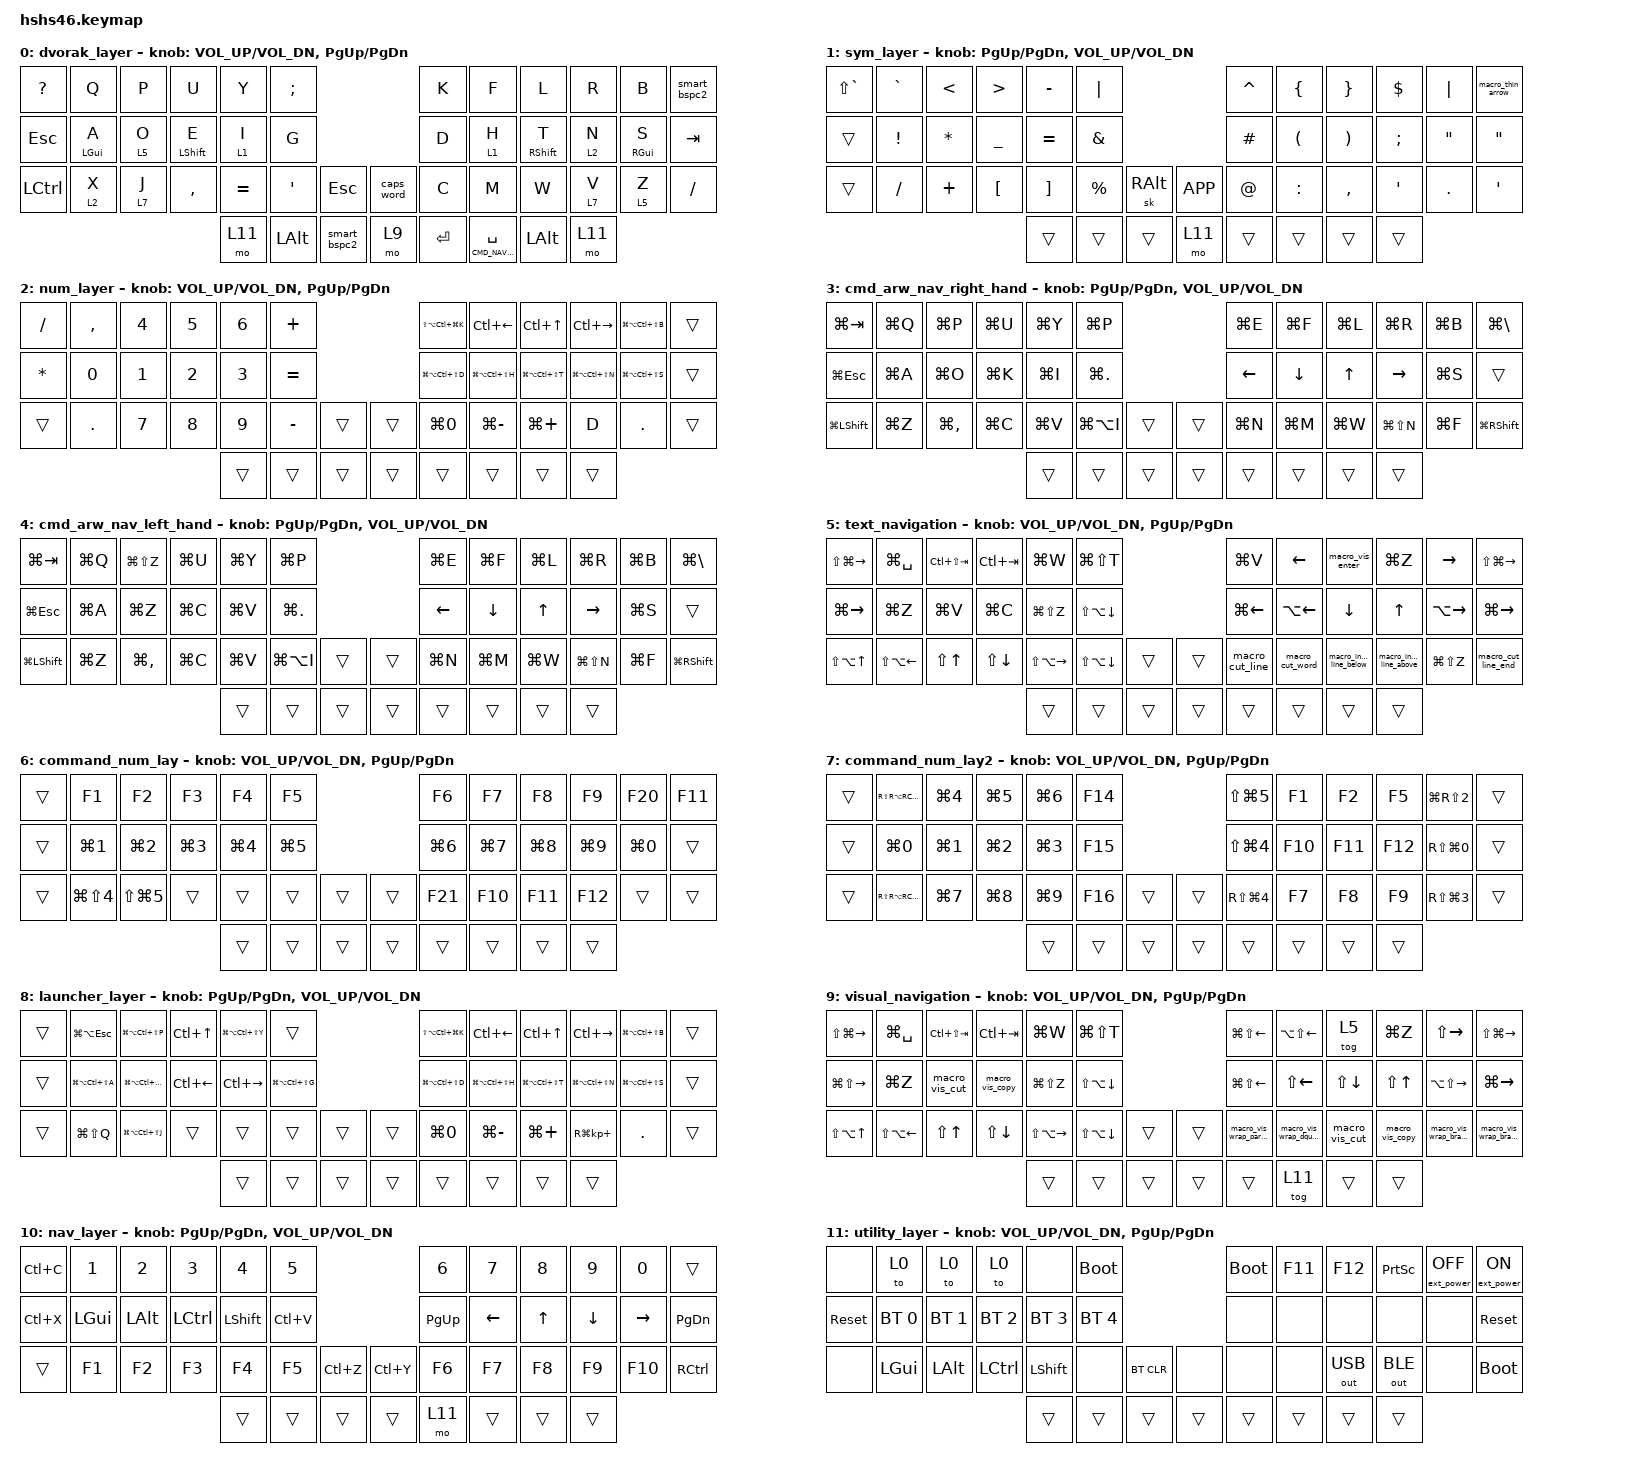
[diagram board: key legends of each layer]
/*
 * Copyright (c) 2021-2022 The ZMK Contributors
 *
 * SPDX-License-Identifier: MIT
 */

#include <behaviors.dtsi>
#include <dt-bindings/zmk/bt.h>
#include <dt-bindings/zmk/ext_power.h>
#include <dt-bindings/zmk/keys.h>
#include <dt-bindings/zmk/outputs.h>

#define QWERTY_L 0
#define DVORAK_L 1
#define COLEMK_L 2
#define NAV_L    3
#define SYM_L    4
#define ADJ_L    5
#define NUM_L    6
#define CMD_NAV_R_L 7
#define CMD_NAV_L_L 8
#define LAUNCHER_L 9
#define CMD_NUM_L 10
#define CMD_NUM_L2 11
#define TEXT_NAV_L 12
#define VIS_NAV_L 13
#define Undo   LC(Z)
#define Cut    LC(X)
#define Copy   LC(C)
#define Paste  LC(V)
#define Redo   LC(Y)
#define KEYS_L 0 1 2 3 4 5 12 13 14 15 16 17 24 25 26 27 28 29 30 38 39 40 41
#define KEYS_R 6 7 8 9 10 11 18 19 20 21 22 23 31 32 33 34 35 36 37 42 43 44 45

/ {
    behaviors {
        hrm_left_index: homerow_mod_left_sym {
            compatible = "zmk,behavior-hold-tap";
            label = "HOMEROW_MOD_LEFT_SYM";
            #binding-cells = <2>;
            tapping-term-ms = <260>;
            quick-tap-ms = <200>;
            require-prior-idle-ms = <150>;
            flavor = "tap-preferred";
            retro-tap;
            bindings = <&mo>, <&kp>;

            hold-trigger-key-positions = <KEYS_R>;
        };

        hrm_left_ring: homerow_mod_left_ring_sym {
            compatible = "zmk,behavior-hold-tap";
            label = "HOMEROW_MOD_LEFT_RING_SYM";
            #binding-cells = <2>;
            tapping-term-ms = <270>;
            quick-tap-ms = <200>;
            require-prior-idle-ms = <150>;
            flavor = "tap-preferred";
            retro-tap;
            bindings = <&mo>, <&kp>;

            hold-trigger-key-positions = <KEYS_R>;
        };

        hrm_right_index: homerow_mod_right_sym {
            compatible = "zmk,behavior-hold-tap";
            label = "HOMEROW_MOD_RIGHT_SYM";
            #binding-cells = <2>;
            tapping-term-ms = <234>;
            quick-tap-ms = <180>;
            require-prior-idle-ms = <150>;
            flavor = "tap-preferred";
            retro-tap;
            bindings = <&mo>, <&kp>;

            hold-trigger-key-positions = <KEYS_L>;
        };

        hrm_right_ring: homerow_mod_right_ring_sym {
            compatible = "zmk,behavior-hold-tap";
            label = "HOMEROW_MOD_RIGHT_RING_SYM";
            #binding-cells = <2>;
            tapping-term-ms = <243>;
            quick-tap-ms = <180>;
            require-prior-idle-ms = <150>;
            flavor = "tap-preferred";
            retro-tap;
            bindings = <&mo>, <&kp>;

            hold-trigger-key-positions = <KEYS_L>;
        };

        hrm_left_ring_bottom: homerow_mod_left_ring_bottom_layer {
            compatible = "zmk,behavior-hold-tap";
            label = "HOMEROW_MOD_LEFT_RING_BOTTOM_LAYER";
            #binding-cells = <2>;
            tapping-term-ms = <270>;
            quick-tap-ms = <200>;
            require-prior-idle-ms = <150>;
            flavor = "tap-preferred";
            retro-tap;
            bindings = <&mo>, <&kp>;

            hold-trigger-key-positions = <KEYS_R>;
        };

        hrm_right_ring_bottom: homerow_mod_right_ring_bottom_layer {
            compatible = "zmk,behavior-hold-tap";
            label = "HOMEROW_MOD_RIGHT_RING_BOTTOM_LAYER";
            #binding-cells = <2>;
            tapping-term-ms = <243>;
            quick-tap-ms = <180>;
            require-prior-idle-ms = <150>;
            flavor = "tap-preferred";
            retro-tap;
            bindings = <&mo>, <&kp>;

            hold-trigger-key-positions = <KEYS_L>;
        };

        hrm_left_middle: homerow_mod_left_shift {
            compatible = "zmk,behavior-hold-tap";
            label = "HOMEROW_MOD_LEFT_SHIFT";
            #binding-cells = <2>;
            tapping-term-ms = <250>;
            quick-tap-ms = <180>;
            require-prior-idle-ms = <150>;
            flavor = "tap-preferred";
            retro-tap;
            bindings = <&kp>, <&kp>;

            hold-trigger-key-positions = <KEYS_R>;
        };

        hrm_right_middle: homerow_mod_right_shift {
            compatible = "zmk,behavior-hold-tap";
            label = "HOMEROW_MOD_RIGHT_SHIFT";
            #binding-cells = <2>;
            tapping-term-ms = <243>;
            quick-tap-ms = <180>;
            require-prior-idle-ms = <150>;
            flavor = "tap-preferred";
            retro-tap;
            bindings = <&kp>, <&kp>;

            hold-trigger-key-positions = <KEYS_L>;
        };

        hrm_left_pinky: homerow_mod_left_cmd {
            compatible = "zmk,behavior-hold-tap";
            label = "HOMEROW_MOD_LEFT_CMD";
            #binding-cells = <2>;
            tapping-term-ms = <350>;
            quick-tap-ms = <200>;
            require-prior-idle-ms = <150>;
            flavor = "tap-preferred";
            retro-tap;
            bindings = <&kp>, <&kp>;

            hold-trigger-key-positions = <KEYS_R>;
        };

        hrm_left_pinky_bottom: homerow_mod_left_pinky_bottom_layer {
            compatible = "zmk,behavior-hold-tap";
            label = "HOMEROW_MOD_LEFT_PINKY_BOTTOM_LAYER";
            #binding-cells = <2>;
            tapping-term-ms = <350>;
            quick-tap-ms = <200>;
            require-prior-idle-ms = <150>;
            flavor = "tap-preferred";
            retro-tap;
            bindings = <&mo>, <&kp>;

            hold-trigger-key-positions = <KEYS_R>;
        };

        hrm_right_pinky: homerow_mod_right_cmd {
            compatible = "zmk,behavior-hold-tap";
            label = "HOMEROW_MOD_RIGHT_CMD";
            #binding-cells = <2>;
            tapping-term-ms = <280>;
            quick-tap-ms = <180>;
            require-prior-idle-ms = <150>;
            flavor = "tap-preferred";
            retro-tap;
            bindings = <&kp>, <&kp>;

            hold-trigger-key-positions = <KEYS_L>;
        };

        hrm_right_pinky_bottom: homerow_mod_right_pinky_bottom_layer {
            compatible = "zmk,behavior-hold-tap";
            label = "HOMEROW_MOD_RIGHT_PINKY_BOTTOM_LAYER";
            #binding-cells = <2>;
            tapping-term-ms = <280>;
            quick-tap-ms = <180>;
            require-prior-idle-ms = <150>;
            flavor = "tap-preferred";
            retro-tap;
            bindings = <&mo>, <&kp>;

            hold-trigger-key-positions = <KEYS_L>;
        };

        bs_nav: backspace_nav {
            compatible = "zmk,behavior-hold-tap";
            label = "BACKSPACE_NAV";
            #binding-cells = <2>;
            tapping-term-ms = <220>;
            quick-tap-ms = <175>;
            require-prior-idle-ms = <160>;
            flavor = "tap-preferred";
            retro-tap;
            bindings = <&mo>, <&kp>;
        };

        smart_bspc2: smart_backspace_2 {
            compatible = "zmk,behavior-mod-morph";
            label = "SMART_BACKSPACE_2";
            #binding-cells = <0>;
            bindings = <&bs_nav CMD_NAV_L_L BSPC>, <&kp LA(BSPC)>;

            mods = <(MOD_LSFT|MOD_RSFT)>;
        };

        sp_nav: space_nav {
            compatible = "zmk,behavior-hold-tap";
            label = "SPACE_NAV";
            #binding-cells = <2>;
            tapping-term-ms = <220>;
            quick-tap-ms = <0>;
            require-prior-idle-ms = <140>;
            flavor = "tap-preferred";
            retro-tap;
            bindings = <&mo>, <&kp>;
        };
    };

    macros {
        macro_thin_arrow: macro_thin_arrow {
            compatible = "zmk,behavior-macro";
            #binding-cells = <0>;
            wait-ms = <30>;
            tap-ms = <30>;
            bindings = <&macro_release>, <&kp LSHFT &kp RSHFT &kp MINUS &kp GT>;

            display-name = "Thin Arrow";
        };

        mac_sel_word: mac_sel_word {
            compatible = "zmk,behavior-macro";
            #binding-cells = <0>;
            tap-ms = <5>;
            wait-ms = <5>;
            bindings = <&kp LEFT &kp LA(LEFT) &kp LA(LS(RIGHT))>;
            display-name = "Mac Select Word";
        };

        macro_cut_line: macro_cut_line {
            compatible = "zmk,behavior-macro";
            label = "macro_cut_line";
            #binding-cells = <0>;
            wait-ms = <5>;
            tap-ms = <5>;
            bindings = <&kp LC(A) &kp LC(K) &kp DEL>;
            display-name = "Cut Line";
        };

        macro_cut_line_end: macro_cut_line_end {
            compatible = "zmk,behavior-macro";
            label = "macro_cut_line_end";
            #binding-cells = <0>;
            wait-ms = <5>;
            tap-ms = <5>;
            bindings = <&kp LC(K)>;
            display-name = "Cut to End of Line";
        };

        macro_cut_word: macro_cut_word {
            compatible = "zmk,behavior-macro";
            label = "macro_cut_word";
            #binding-cells = <0>;
            wait-ms = <5>;
            tap-ms = <5>;
            bindings = <&kp LA(RIGHT) &kp LA(BSPC)>;
            display-name = "Cut Word";
        };

        macro_vis_enter: macro_vis_enter {
            compatible = "zmk,behavior-macro";
            label = "macro_vis_enter";
            #binding-cells = <0>;
            wait-ms = <5>;
            tap-ms = <5>;
            bindings = <&mac_sel_word &tog 0>;
            display-name = "Visual Mode Enter";
        };

        macro_vis_wrap_parens: macro_vis_wrap_parens {
            compatible = "zmk,behavior-macro";
            label = "macro_vis_wrap_parens";
            #binding-cells = <0>;
            wait-ms = <5>;
            tap-ms = <5>;
            bindings = <&kp LG(X) &kp LS(N9) &kp LG(V) &kp LS(N0) &tog 0>;
            display-name = "Visual Wrap Parens ()";
        };

        macro_vis_wrap_brackets: macro_vis_wrap_brackets {
            compatible = "zmk,behavior-macro";
            label = "macro_vis_wrap_brackets";
            #binding-cells = <0>;
            wait-ms = <5>;
            tap-ms = <5>;
            bindings = <&kp LG(X) &kp LBKT &kp LG(V) &kp RBKT &tog 0>;
            display-name = "Visual Wrap Brackets []";
        };

        macro_vis_wrap_braces: macro_vis_wrap_braces {
            compatible = "zmk,behavior-macro";
            label = "macro_vis_wrap_braces";
            #binding-cells = <0>;
            wait-ms = <5>;
            tap-ms = <5>;
            bindings = <&kp LG(X) &kp LS(LBKT) &kp LG(V) &kp LS(RBKT) &tog 0>;
            display-name = "Visual Wrap Braces {}";
        };

        macro_vis_wrap_dquotes: macro_vis_wrap_dquotes {
            compatible = "zmk,behavior-macro";
            label = "macro_vis_wrap_dquotes";
            #binding-cells = <0>;
            wait-ms = <5>;
            tap-ms = <5>;
            bindings = <&kp LG(X) &kp LS(SQT) &kp LG(V) &kp LS(SQT) &tog 0>;
            display-name = "Visual Wrap Quotes DQT";
        };

        macro_vis_copy: macro_vis_copy {
            compatible = "zmk,behavior-macro";
            label = "macro_vis_copy";
            #binding-cells = <0>;
            wait-ms = <5>;
            tap-ms = <5>;
            bindings = <&kp LG(C) &tog 0>;
            display-name = "Visual Copy & Exit";
        };

        macro_vis_cut: macro_vis_cut {
            compatible = "zmk,behavior-macro";
            label = "macro_vis_cut";
            #binding-cells = <0>;
            wait-ms = <5>;
            tap-ms = <5>;
            bindings = <&kp LG(X) &tog 0>;
            display-name = "Visual Cut & Exit";
        };

        macro_insert_line_below: macro_insert_line_below {
            compatible = "zmk,behavior-macro";
            label = "macro_insert_line_below";
            #binding-cells = <0>;
            wait-ms = <5>;
            tap-ms = <5>;
            bindings = <&kp LG(RIGHT) &kp ENTER>;
            display-name = "Insert Line Below";
        };

        macro_insert_line_above: macro_insert_line_above {
            compatible = "zmk,behavior-macro";
            label = "macro_insert_line_above";
            #binding-cells = <0>;
            wait-ms = <5>;
            tap-ms = <5>;
            bindings = <&kp LG(LEFT) &kp ENTER &kp UP>;
            display-name = "Insert Line Above";
        };
    };

    keymap {
        compatible = "zmk,keymap";

        dvorak_layer {
            bindings = <
&kp QUESTION  &kp Q                       &kp P                      &kp U                     &kp Y                &kp SEMI                                                   &kp K     &kp F                 &kp L                      &kp R                       &kp B                        &smart_bspc2
&kp ESCAPE    &hrm_left_pinky LGUI A      &hrm_left_ring 5 O         &hrm_left_middle LSHFT E  &hrm_left_index 1 I  &kp G                                                      &kp D     &hrm_right_index 1 H  &hrm_right_middle RSHFT T  &hrm_right_ring 2 N         &hrm_right_pinky RGUI S      &kp TAB
&kp LCTRL     &hrm_left_pinky_bottom 2 X  &hrm_left_ring_bottom 7 J  &kp COMMA                 &kp EQUAL            &kp APOS  &kp ESC                         &caps_word       &kp C     &kp M                 &kp W                      &hrm_right_ring_bottom 7 V  &hrm_right_pinky_bottom 5 Z  &kp SLASH
                                                                                               &mo 11               &kp LALT  &smart_bspc2  &mo 9  &kp ENTER  &sp_nav CMD_NAV_R_L SPACE  &kp LALT  &mo 11
            >;

            sensor-bindings = <&inc_dec_kp C_VOL_UP C_VOL_DN &inc_dec_kp PG_UP PG_DN>;
        };

        sym_layer {
            bindings = <
&kp LS(GRAVE)  &kp GRAVE        &kp LESS_THAN  &kp GREATER_THAN  &kp MINUS          &kp PIPE                                            &kp CARET    &kp LEFT_BRACE        &kp RIGHT_BRACE        &kp DOLLAR     &kp PIPE           &macro_thin_arrow
&trans         &kp EXCLAMATION  &kp ASTERISK   &kp UNDERSCORE    &kp EQUAL          &kp AMPERSAND                                       &kp HASH     &kp LEFT_PARENTHESIS  &kp RIGHT_PARENTHESIS  &kp SEMICOLON  &kp DOUBLE_QUOTES  &kp DOUBLE_QUOTES
&trans         &kp SLASH        &kp PLUS       &kp LEFT_BRACKET  &kp RIGHT_BRACKET  &kp PERCENT    &sk RALT                  &kp K_APP  &kp AT_SIGN  &kp COLON             &kp COMMA              &kp SQT        &kp DOT            &kp SINGLE_QUOTE
                                                                 &trans             &trans         &trans    &mo 11  &trans  &trans     &trans       &trans
            >;

            sensor-bindings = <&inc_dec_kp PG_UP PG_DN &inc_dec_kp C_VOL_UP C_VOL_DN>;
        };

        num_layer {
            bindings = <
&kp SLASH     &kp COMMA   &kp NUMBER_4  &kp NUMBER_5  &kp NUMBER_6  &kp PLUS                                   &kp LS(LA(LC(LG(K))))  &kp LC(LEFT)           &kp LC(UP)             &kp LC(RIGHT)          &kp LG(LA(LC(LS(B))))  &trans
&kp ASTERISK  &kp N0      &kp N1        &kp N2        &kp N3        &kp EQUAL                                  &kp LG(LA(LC(LS(D))))  &kp LG(LA(LC(LS(H))))  &kp LG(LA(LC(LS(T))))  &kp LG(LA(LC(LS(N))))  &kp LG(LA(LC(LS(S))))  &trans
&trans        &kp PERIOD  &kp N7        &kp N8        &kp N9        &kp MINUS  &trans                  &trans  &kp LG(NUMBER_0)       &kp LG(MINUS)          &kp LG(PLUS)           &kp D                  &kp PERIOD             &trans
                                                      &trans        &trans     &trans  &trans  &trans  &trans  &trans                 &trans
            >;

            sensor-bindings = <&inc_dec_kp C_VOL_UP C_VOL_DN &inc_dec_kp PG_UP PG_DN>;
        };

        cmd_arw_nav_right_hand {
            bindings = <
&kp LG(TAB)    &kp LG(Q)  &kp LG(P)      &kp LG(U)  &kp LG(Y)  &kp LG(P)                                      &kp LG(E)  &kp LG(F)       &kp LG(L)     &kp LG(R)        &kp LG(B)  &kp LG(BSLH)
&kp LG(ESC)    &kp LG(A)  &kp LG(O)      &kp LG(K)  &kp LG(I)  &kp LG(DOT)                                    &kp LEFT   &kp DOWN_ARROW  &kp UP_ARROW  &kp RIGHT_ARROW  &kp LG(S)  &trans
&kp LG(LSHFT)  &kp LG(Z)  &kp LG(COMMA)  &kp LG(C)  &kp LG(V)  &kp LG(LA(I))  &trans                  &trans  &kp LG(N)  &kp LG(M)       &kp LG(W)     &kp LG(LS(N))    &kp LG(F)  &kp LG(RSHFT)
                                                    &trans     &trans         &trans  &trans  &trans  &trans  &trans     &trans
            >;

            sensor-bindings = <&inc_dec_kp PG_UP PG_DN &inc_dec_kp C_VOL_UP C_VOL_DN>;
        };

        cmd_arw_nav_left_hand {
            bindings = <
&kp LG(TAB)    &kp LG(Q)  &kp LG(LS(Z))  &kp LG(U)  &kp LG(Y)  &kp LG(P)                                      &kp LG(E)       &kp LG(F)       &kp LG(L)     &kp LG(R)        &kp LG(B)  &kp LG(BSLH)
&kp LG(ESC)    &kp LG(A)  &kp LG(Z)      &kp LG(C)  &kp LG(V)  &kp LG(DOT)                                    &kp LEFT_ARROW  &kp DOWN_ARROW  &kp UP_ARROW  &kp RIGHT_ARROW  &kp LG(S)  &trans
&kp LG(LSHFT)  &kp LG(Z)  &kp LG(COMMA)  &kp LG(C)  &kp LG(V)  &kp LG(LA(I))  &trans                  &trans  &kp LG(N)       &kp LG(M)       &kp LG(W)     &kp LG(LS(N))    &kp LG(F)  &kp LG(RSHFT)
                                                    &trans     &trans         &trans  &trans  &trans  &trans  &trans          &trans
            >;

            sensor-bindings = <&inc_dec_kp PG_UP PG_DN &inc_dec_kp C_VOL_UP C_VOL_DN>;
        };

        text_navigation {
            bindings = <
&kp LS(LG(RIGHT))  &kp LG(SPACE)     &kp LC(LS(TAB))  &kp LC(TAB)   &kp LG(W)          &kp LG(LS(T))                                     &kp LG(V)        &kp LEFT         &macro_vis_enter          &kp LG(Z)                 &kp RIGHT      &kp LS(LG(RIGHT))
&kp LG(RIGHT)      &kp LG(Z)         &kp LG(V)        &kp LG(C)     &kp LG(LS(Z))      &kp LS(LA(DOWN))                                  &kp LG(LEFT)     &kp LA(LEFT)     &kp DOWN                  &kp UP                    &kp LA(RIGHT)  &kp LG(RIGHT)
&kp LS(LA(UP))     &kp LS(LA(LEFT))  &kp LS(UP)       &kp LS(DOWN)  &kp LS(LA(RIGHT))  &kp LS(LA(DOWN))  &trans                  &trans  &macro_cut_line  &macro_cut_word  &macro_insert_line_below  &macro_insert_line_above  &kp LG(LS(Z))  &macro_cut_line_end
                                                                    &trans             &trans            &trans  &trans  &trans  &trans  &trans           &trans
            >;

            sensor-bindings = <&inc_dec_kp C_VOL_UP C_VOL_DN &inc_dec_kp PG_UP PG_DN>;
        };

        command_num_lay {
            bindings = <
&trans  &kp F1                &kp F2                &kp F3      &kp F4      &kp F5                                      &kp F6      &kp F7      &kp F8      &kp F9      &kp F20     &kp F11
&trans  &kp LG(N1)            &kp LG(N2)            &kp LG(N3)  &kp LG(N4)  &kp LG(N5)                                  &kp LG(N6)  &kp LG(N7)  &kp LG(N8)  &kp LG(N9)  &kp LG(N0)  &trans
&trans  &kp LG(LS(NUMBER_4))  &kp LS(LG(NUMBER_5))  &trans      &trans      &trans      &trans                  &trans  &kp F21     &kp F10     &kp F11     &kp F12     &trans      &trans
                                                                &trans      &trans      &trans  &trans  &trans  &trans  &trans      &trans
            >;

            sensor-bindings = <&inc_dec_kp C_VOL_UP C_VOL_DN &inc_dec_kp PG_UP PG_DN>;
        };

        command_num_lay2 {
            bindings = <
&trans  &kp RS(RA(RC(F3)))   &kp LG(N4)  &kp LG(N5)  &kp LG(N6)  &kp F14                                  &kp LS(LG(N5))        &kp F1   &kp F2   &kp F5   &kp LG(RS(NUMBER_2))  &trans
&trans  &kp LG(N0)           &kp LG(N1)  &kp LG(N2)  &kp LG(N3)  &kp F15                                  &kp LS(LG(NUMBER_4))  &kp F10  &kp F11  &kp F12  &kp RS(LG(N0))        &trans
&trans  &kp RS(RA(RC(F23)))  &kp LG(N7)  &kp LG(N8)  &kp LG(N9)  &kp F16  &trans                  &trans  &kp RS(LG(NUMBER_4))  &kp F7   &kp F8   &kp F9   &kp RS(LG(NUMBER_3))  &trans
                                                     &trans      &trans   &trans  &trans  &trans  &trans  &trans                &trans
            >;

            sensor-bindings = <&inc_dec_kp C_VOL_UP C_VOL_DN &inc_dec_kp PG_UP PG_DN>;
        };

        launcher_layer {
            bindings = <
&trans  &kp LG(LA(ESC))        &kp LG(LA(LC(LS(P))))  &kp LC(UP)    &kp LG(LA(LC(LS(Y))))  &trans                                                 &kp LS(LA(LC(LG(K))))  &kp LC(LEFT)           &kp LC(UP)             &kp LC(RIGHT)          &kp LG(LA(LC(LS(B))))  &trans
&trans  &kp LG(LA(LC(LS(A))))  &kp LG(LA(LC(LS(O))))  &kp LC(LEFT)  &kp LC(RIGHT)          &kp LG(LA(LC(LS(G))))                                  &kp LG(LA(LC(LS(D))))  &kp LG(LA(LC(LS(H))))  &kp LG(LA(LC(LS(T))))  &kp LG(LA(LC(LS(N))))  &kp LG(LA(LC(LS(S))))  &trans
&trans  &kp LG(LS(Q))          &kp LG(LA(LC(LS(J))))  &trans        &trans                 &trans                 &trans                  &trans  &kp LG(NUMBER_0)       &kp LG(MINUS)          &kp LG(PLUS)           &kp RG(KP_PLUS)        &kp PERIOD             &trans
                                                                    &trans                 &trans                 &trans  &trans  &trans  &trans  &trans                 &trans
            >;

            sensor-bindings = <&inc_dec_kp PG_UP PG_DN &inc_dec_kp C_VOL_UP C_VOL_DN>;
        };

        visual_navigation {
            bindings = <
&kp LS(LG(RIGHT))  &kp LG(SPACE)     &kp LC(LS(TAB))  &kp LC(TAB)      &kp LG(W)          &kp LG(LS(T))                                      &kp LG(LS(LEFT))        &kp LA(LS(LEFT))         &tog 5          &kp LG(Z)        &kp LS(RIGHT)             &kp LS(LG(RIGHT))
&kp LG(LS(RIGHT))  &kp LG(Z)         &macro_vis_cut   &macro_vis_copy  &kp LG(LS(Z))      &kp LS(LA(DOWN))                                   &kp LG(LS(LEFT))        &kp LS(LEFT)             &kp LS(DOWN)    &kp LS(UP)       &kp LA(LS(RIGHT))         &kp LG(RIGHT)
&kp LS(LA(UP))     &kp LS(LA(LEFT))  &kp LS(UP)       &kp LS(DOWN)     &kp LS(LA(RIGHT))  &kp LS(LA(DOWN))  &trans                  &trans   &macro_vis_wrap_parens  &macro_vis_wrap_dquotes  &macro_vis_cut  &macro_vis_copy  &macro_vis_wrap_brackets  &macro_vis_wrap_braces
                                                                       &trans             &trans            &trans  &trans  &trans  &tog 11  &trans                  &trans
            >;

            sensor-bindings = <&inc_dec_kp C_VOL_UP C_VOL_DN &inc_dec_kp PG_UP PG_DN>;
        };

        nav_layer {
            /* NAV
 * -------------------------------------------------------------------------------------------------------------------------------------
 * | Copy  |   1   |   2   |   3   |   4   |   5   |-----------------------------------|   6   |   7   |   8   |   9   |   0   | BSPC  |
 * | Cut   |  GUI  |  Alt  | Ctrl  | Shift | Paste |-----------------------------------| PG UP |  Left |  Up   |  Down | Right | PG DN |
 * | Ctrl  |  F1   |  F2   |  F3   |  F4   |  F5   |  UnDo |-------------------| ReDo  |  F6   |  F7   |  F8   |  F9   |  F10  | Ctrl  |
 *                                 |       |       |       |       |---| ADJ_L |       |       |       |
 */

            bindings = <
&kp Copy  &kp N1    &kp N2    &kp N3     &kp N4     &kp N5                                         &kp N6     &kp N7    &kp N8  &kp N9    &kp N0     &trans
&kp Cut   &kp LGUI  &kp LALT  &kp LCTRL  &kp LSHFT  &kp Paste                                      &kp PG_UP  &kp LEFT  &kp UP  &kp DOWN  &kp RIGHT  &kp PG_DN
&trans    &kp F1    &kp F2    &kp F3     &kp F4     &kp F5     &kp Undo                  &kp Redo  &kp F6     &kp F7    &kp F8  &kp F9    &kp F10    &kp RCTRL
                                         &trans     &trans     &trans    &trans  &mo 11  &trans    &trans     &trans
            >;

            sensor-bindings = <&inc_dec_kp PG_UP PG_DN &inc_dec_kp C_VOL_UP C_VOL_DN>;
        };

        utility_layer {
            /* ADJUST
 * -------------------------------------------------------------------------------------------------------------------------------------
 * |       | QWERTY| DVORAK| COLEMK|       |       |-----------------------------------|       |  F11  |  F12  |Prt Scr|EP_OFF | EP_ON |
 * | RESET | BT 0  | BT 1  | BT 2  | BT 3  | BT 4  |-----------------------------------|       |       |       |       |       | RESET |
 * |       | LGUI  | LALT  | LCTRL | LSHIFT|       |BT CLR |-------------------|       |       |       |OUT_USB|OUT_BLE|       | BOOTL |
 *                                 |       |       |       |       |---|       |       |       |       |
 */

            bindings = <
&none       &to 0         &to 0         &to 0         &none         &bootloader                                       &bootloader  &kp F11  &kp F12       &kp PRINTSCREEN  &ext_power EP_OFF  &ext_power EP_ON
&sys_reset  &bt BT_SEL 0  &bt BT_SEL 1  &bt BT_SEL 2  &bt BT_SEL 3  &bt BT_SEL 4                                      &none        &none    &none         &none            &none              &sys_reset
&none       &kp LGUI      &kp LALT      &kp LCTRL     &kp LSHIFT    &none         &bt BT_CLR                  &none   &none        &none    &out OUT_USB  &out OUT_BLE     &none              &bootloader
                                                      &trans        &trans        &trans      &trans  &trans  &trans  &trans       &trans
            >;

            sensor-bindings = <&inc_dec_kp C_VOL_UP C_VOL_DN &inc_dec_kp PG_UP PG_DN>;
        };
    };
};
